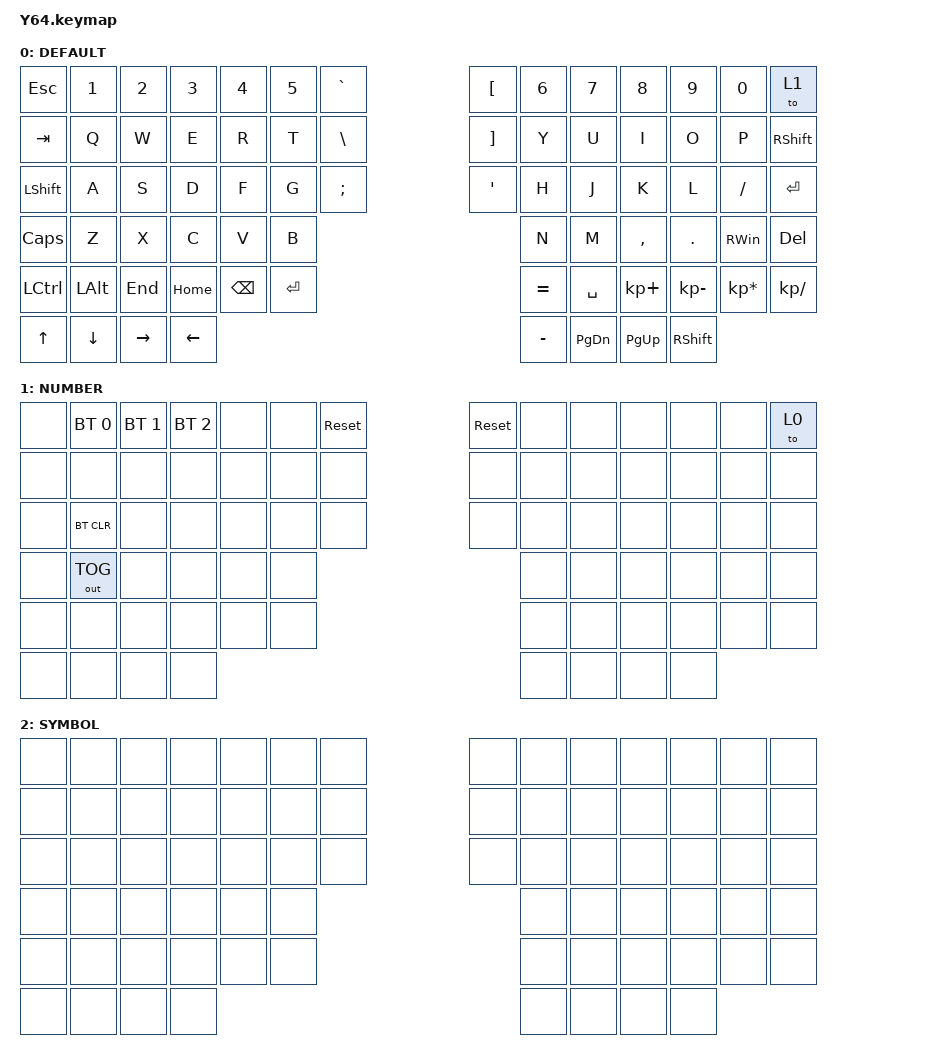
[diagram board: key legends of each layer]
/*
 * Copyright (c) 2020 The ZMK Contributors
 *
 * SPDX-License-Identifier: MIT
 */

#include <behaviors.dtsi>
#include <dt-bindings/zmk/keys.h>
#include <dt-bindings/zmk/bt.h>
#include <dt-bindings/zmk/rgb.h>
#include <dt-bindings/zmk/outputs.h>
#include <dt-bindings/zmk/ext_power.h>

#define DEFAULT 0
#define NUMBER  1
#define SYMBOL  2
#define HOTKEY  3
#define SETTING 4
#define AS(keycode) &as LS(keycode) keycode




/ {
        behaviors {
        td0: tap_dance_0 {
            compatible = "zmk,behavior-tap-dance";
            label = "TAP_DANCE_0";
            #binding-cells = <0>;
            tapping-term-ms = <200>;
            bindings = <&mo 0>, <&to 0>, <&to 0>;
        };
        
    };  

         behaviors {
       as: auto_shift {
        compatible = "zmk,behavior-hold-tap";
        label = "AUTO_SHIFT";
        #binding-cells = <2>;
        tapping-term-ms = <160>;
        quick-tap-ms = <0>;
        flavor = "tap-preferred";
        bindings = <&kp>, <&kp>;
                };
modcp: mod_copy {
        compatible = "zmk,behavior-mod-morph";
        label = "MOD_COPY";
        #binding-cells = <0>;
        bindings = <&as LS(C) C>, <&kp C>;
        mods = <(LGUI | RGUI)>;
};
  
        };


    macros {
        macro_phone: macro_phone {
            // 1351
            label = "MACRO_PHONE";
            compatible = "zmk,behavior-macro";
            #binding-cells = <0>;
            bindings
                = < &kp N1 &kp N3 &kp N5  &kp N1>
                ;
        };
        
        macro_email_g: macro_email_g {
            // 135115
            compatible = "zmk,behavior-macro";
            label = "MACRO_EMAIL_GMAIL";
            #binding-cells = <0>;
            bindings
                = < &kp N1 &kp N3 &kp N5  &kp N1 &kp N1 &kp N5 >
                ;
        };
         
    };
    
    combos {
        compatible = "zmk,combos";
        combo_esc {
            timeout-ms = <50>;
            key-positions = <14 15>;
            bindings = <&kp ESC>;
        };
        
         combo_LSHFT {
            timeout-ms = <50>;
            key-positions = <26 27>;
            bindings = <&kp  LSHFT>;
        };
        
            combo_LGUI {
            timeout-ms = <50>;
            key-positions = <38 39>;
            bindings = <&kp LGUI>;
        };
        
   
          
  };


    keymap {
       compatible = "zmk,keymap";
       default_layer {
            label = "DEFAULT";
            bindings = <
&kp ESC  &kp N1 &kp N2 &kp N3 &kp N4 &kp N5  &kp GRAVE                       &kp LBKT &kp N6  &kp N7  &kp N8  &kp N9  &kp N0   &to 1
&kp TAB    &kp Q  &kp W    &kp E   &kp R   &kp T  &kp BSLH                   &kp RBKT &kp Y   &kp U   &kp I   &kp O   &kp P    &kp RSHIFT
&kp LSHIFT  &kp A  &kp S    &kp D    &kp F  &kp G &kp SEMI                   &kp SQT  &kp H   &kp J   &kp K   &kp L   &kp FSLH &kp ENTER
&kp CAPS &kp Z  &kp X    &kp C    &kp V     &kp B                                     &kp N   &kp M   &kp COMMA &kp DOT  &kp RWIN &kp DEL 
&kp LCTRL  &kp LALT  &kp END &kp HOME  &kp BACKSPACE  &kp ENTER                       &kp EQUAL &kp SPACE  &kp KP_PLUS  &kp KP_MINUS   &kp KP_MULTIPLY  &kp KP_DIVIDE  
&kp UP &kp DOWN	&kp RIGHT  &kp LEFT 	                                              &kp MINUS   &kp PG_DN &kp PG_UP &kp RSHIFT


            >;
        };
        number_layer {
            label = "NUMBER";
            bindings = <
    &none &bt BT_SEL 0 &bt BT_SEL 1 &bt BT_SEL 2 &none &none &sys_reset                   &sys_reset  &none &none &none &none &none &to 0
    &none &none &none &none &none &none &none                                             &none       &none &none &none &none &none &none
    &none &bt BT_CLR &none &none &none &none  &none                                       &none       &none &none &none &none &none &none
    &none &out OUT_TOG &none &none &none &none                                                        &none &none &none &none &none &none 
    &none &none &none &none &none &none                                                               &none &none &none &none &none &none	
    &none &none &none &none                                                                           &none &none &none &none  	

            >;
        };

        symbol_layer {
            label = "SYMBOL";
            bindings = <
&none &none &none &none &none &none &none                                             &none &none &none &none &none &none &none
    &none &none &none &none &none &none &none                                             &none &none &none &none &none &none &none
    &none &none &none &none &none &none &none                                             &none &none &none &none &none &none &none
    &none &none &none &none &none &none                                                         &none &none &none &none &none &none 
    &none &none &none &none &none &none                                                         &none &none &none &none &none &none	
    &none &none &none &none                         	                                        &none &none &none &none  	                                                                                       
        
         >;
        };
   };
};
